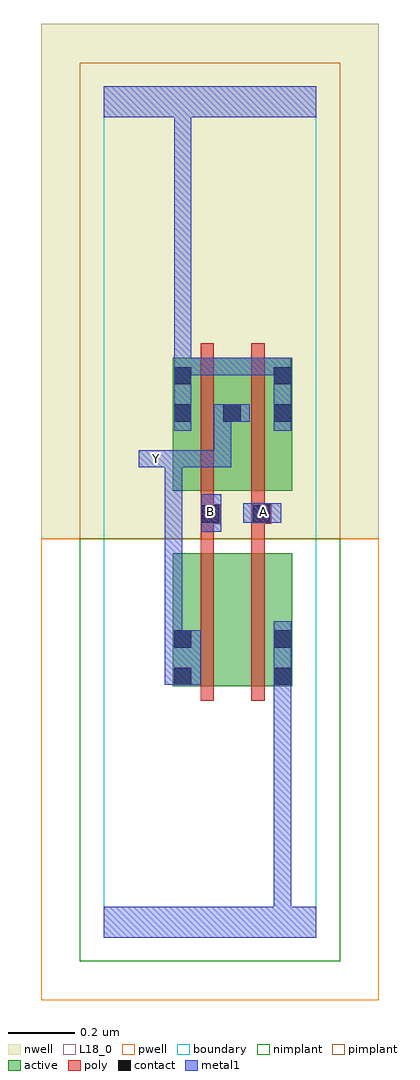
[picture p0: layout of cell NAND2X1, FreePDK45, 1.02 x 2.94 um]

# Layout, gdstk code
import gdstk
lib = gdstk.Library(unit=1e-6, precision=1e-09)
def R(c, l, rs):  # rectangles x0, y0, x1, y1
    for r in rs: c.add(gdstk.rectangle(r[:2], r[2:], *l))
active = (1, 0)
pwell = (2, 0)
nwell = (3, 0)
nimplant = (4, 0)
pimplant = (5, 0)
poly = (9, 0)
contact = (10, 0)
metal1 = (11, 0)
L18_0 = (18, 0)
boundary = (235, 0)

nand2x1 = lib.new_cell('NAND2X1')
R(nand2x1, active, [(0.208,0.756,0.268,1.156), (0.208,0.756,0.388,1.156), (0.388,0.756,0.568,1.156), (0.508,0.756,0.568,1.156), (0.208,1.344,0.268,1.744), (0.208,1.344,0.416,1.744), (0.356,1.344,0.568,1.744), (0.356,1.344,0.416,1.644), (0.508,1.344,0.568,1.744)])
R(nand2x1, pwell, [(-0.188,-0.188,0.828,1.2)])
R(nand2x1, nwell, [(-0.188,1.2,0.828,2.748)])
R(nand2x1, nimplant, [(-0.072,-0.072,0.712,1.2)])
R(nand2x1, pimplant, [(-0.072,1.2,0.712,2.632)])
R(nand2x1, poly, [(0.292,0.712,0.332,1.2), (0.444,0.712,0.484,1.2), (0.292,1.16,0.332,1.284), (0.444,1.16,0.484,1.284), (0.292,1.244,0.352,1.304), (0.444,1.244,0.504,1.304), (0.292,1.264,0.332,1.34), (0.292,1.264,0.332,1.304), (0.292,1.264,0.332,1.304), (0.444,1.264,0.484,1.34), (0.444,1.264,0.484,1.304), (0.444,1.264,0.484,1.304), (0.292,1.3,0.332,1.788), (0.444,1.3,0.484,1.788)])
R(nand2x1, contact, [(0.212,0.76,0.264,0.812), (0.512,0.76,0.564,0.812), (0.212,0.872,0.264,0.924), (0.512,0.872,0.564,0.924), (0.296,1.248,0.348,1.3), (0.448,1.248,0.5,1.3), (0.212,1.552,0.264,1.604), (0.36,1.552,0.412,1.604), (0.512,1.552,0.564,1.604), (0.212,1.664,0.264,1.716), (0.512,1.664,0.564,1.716)])
R(nand2x1, metal1, [(0,0,0.64,0.092), (0.512,0.04,0.564,0.092), (0.512,0.04,0.564,0.092), (0.512,0.04,0.564,0.092), (0.512,0.04,0.564,0.092), (0.512,0.04,0.564,0.092), (0.512,0.04,0.564,0.092), (0.512,0.04,0.564,0.092), (0.512,0.04,0.564,0.092), (0.512,0.04,0.564,0.092), (0.512,0.04,0.564,0.092), (0.512,0.04,0.564,0.092), (0.512,0.04,0.564,0.092), (0.512,0.04,0.564,0.784), (0.512,0.732,0.564,0.952), (0.184,0.76,0.292,0.924), (0.184,0.872,0.236,1.466), (0.294,1.22,0.354,1.334), (0.42,1.248,0.534,1.306), (0.106,1.414,0.236,1.466), (0.184,1.414,0.236,1.466), (0.184,1.414,0.236,1.466), (0.184,1.414,0.236,1.466), (0.184,1.414,0.236,1.466), (0.184,1.414,0.384,1.466), (0.332,1.414,0.384,1.466), (0.332,1.414,0.384,1.604), (0.212,1.524,0.264,1.744), (0.512,1.524,0.564,1.744), (0.332,1.552,0.44,1.604), (0.212,1.692,0.264,1.744), (0.212,1.692,0.264,1.744), (0.212,1.692,0.264,1.744), (0.212,1.692,0.264,1.744), (0.212,1.692,0.454,1.744), (0.212,1.692,0.264,2.52), (0.402,1.692,0.454,1.744), (0.402,1.692,0.564,1.744), (0.512,1.692,0.564,1.744), (0.512,1.692,0.564,1.744), (0,2.468,0.64,2.56), (0.212,2.468,0.264,2.52), (0.212,2.468,0.264,2.52), (0.212,2.468,0.264,2.52), (0.212,2.468,0.264,2.52), (0.212,2.468,0.264,2.52), (0.212,2.468,0.264,2.52), (0.212,2.468,0.264,2.52), (0.212,2.468,0.264,2.52), (0.212,2.468,0.264,2.52), (0.212,2.468,0.264,2.52), (0.212,2.468,0.264,2.52), (0.212,2.468,0.264,2.52), (0.212,2.468,0.264,2.52), (0.212,2.468,0.264,2.52)])
R(nand2x1, L18_0, [(0,0,0.64,0.092), (0.512,0.04,0.564,0.092), (0.512,0.04,0.564,0.092), (0.512,0.04,0.564,0.092), (0.512,0.04,0.564,0.092), (0.512,0.04,0.564,0.092), (0.512,0.04,0.564,0.092), (0.512,0.04,0.564,0.092), (0.512,0.04,0.564,0.092), (0.512,0.04,0.564,0.092), (0.512,0.04,0.564,0.092), (0.512,0.04,0.564,0.092), (0.512,0.04,0.564,0.092), (0.512,0.04,0.564,0.784), (0.512,0.732,0.564,0.952), (0.184,0.76,0.292,0.924), (0.184,0.872,0.236,1.466), (0.294,1.22,0.354,1.334), (0.42,1.248,0.534,1.306), (0.294,1.254,0.346,1.306), (0.454,1.254,0.506,1.306), (0.106,1.414,0.236,1.466), (0.134,1.414,0.186,1.466), (0.184,1.414,0.236,1.466), (0.184,1.414,0.236,1.466), (0.184,1.414,0.236,1.466), (0.184,1.414,0.236,1.466), (0.184,1.414,0.384,1.466), (0.332,1.414,0.384,1.466), (0.332,1.414,0.384,1.604), (0.212,1.524,0.264,1.744), (0.512,1.524,0.564,1.744), (0.332,1.552,0.44,1.604), (0.212,1.692,0.264,1.744), (0.212,1.692,0.264,1.744), (0.212,1.692,0.264,1.744), (0.212,1.692,0.264,1.744), (0.212,1.692,0.264,2.52), (0.212,1.692,0.454,1.744), (0.402,1.692,0.454,1.744), (0.402,1.692,0.564,1.744), (0.512,1.692,0.564,1.744), (0.512,1.692,0.564,1.744), (0,2.468,0.64,2.56), (0.212,2.468,0.264,2.52), (0.212,2.468,0.264,2.52), (0.212,2.468,0.264,2.52), (0.212,2.468,0.264,2.52), (0.212,2.468,0.264,2.52), (0.212,2.468,0.264,2.52), (0.212,2.468,0.264,2.52), (0.212,2.468,0.264,2.52), (0.212,2.468,0.264,2.52), (0.212,2.468,0.264,2.52), (0.212,2.468,0.264,2.52), (0.212,2.468,0.264,2.52), (0.212,2.468,0.264,2.52), (0.212,2.468,0.264,2.52)])
R(nand2x1, boundary, [(0,0,0.64,2.56)])
nand2x1.add(gdstk.Label('A', (0.48,1.28), layer=11, texttype=0))
nand2x1.add(gdstk.Label('B', (0.32,1.28), layer=11, texttype=0))
nand2x1.add(gdstk.Label('Y', (0.16,1.44), layer=11, texttype=0))

lib.write_gds('NAND2X1.gds')
